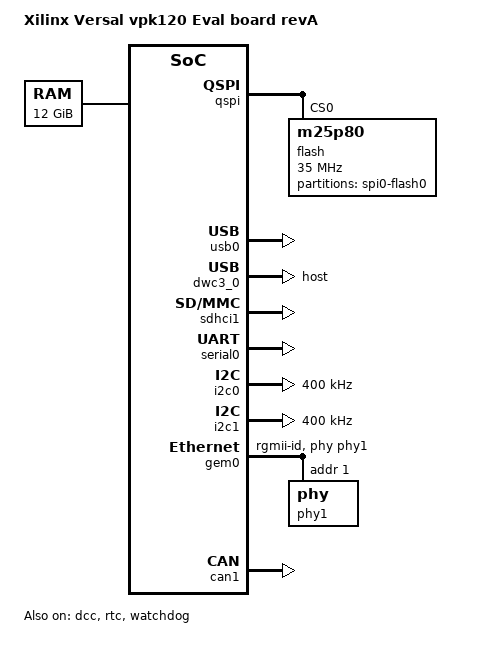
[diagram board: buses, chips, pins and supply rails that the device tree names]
// SPDX-License-Identifier: GPL-2.0
/*
 * dts file for Xilinx Versal vpk120 revA
 *
 * (C) Copyright 2021, Xilinx, Inc.
 *
 * Michal Simek <michal.simek@xilinx.com>
 */

#include "versal.dtsi"
#include "versal-clk.dtsi"

/ {
	model = "Xilinx Versal vpk120 Eval board revA";
	compatible = "xlnx,versal-vpk120-revA", "xlnx,versal-vpk120",
		     "xlnx,versal";

	memory: memory@0 {
		device_type = "memory";
		reg = <0 0 0 0x80000000>, <0x8 0x0 0x2 0x80000000>;
	};

	chosen {
		bootargs = "console=ttyAMA0 earlycon=pl011,mmio32,0xFF000000,115200n8 clk_ignore_unused";
		stdout-path = "serial0:115200";
	};

	aliases {
		serial0 = &serial0;
		ethernet0 = &gem0;
		i2c0 = &i2c0;
		i2c1 = &i2c1;
		mmc0 = &sdhci1;
		spi0 = &qspi;
		usb0 = &usb0;
		rtc0 = &rtc;
	};
	/* Missing any LED for heartbeat */
};

&qspi { /* PMC_MIO_500 0 - 12 */
	status = "okay"; /* u93 and u92 */
	num-cs = <1>;
	is-dual = <1>;
	spi-rx-bus-width = <4>;
	spi-tx-bus-width = <4>;

	flash@0 {
		compatible = "m25p80", "jedec,spi-nor";
		#address-cells = <1>;
		#size-cells = <1>;
		reg = <0>;
		spi-tx-bus-width = <4>;
		spi-rx-bus-width = <4>;
		spi-max-frequency = <35000000>;
		partition@0 {
			label = "spi0-flash0";
			reg = <0x0 0x8000000>;
		};
	};
};

&usb0 { /* PMC_MIO_500 13 - 25 USB 2.0 */
	status = "okay";
	xlnx,usb-polarity = <0>;
	xlnx,usb-reset-mode = <0>;
};

&dwc3_0 { /* USB 2.0 host */
	status = "okay";
	dr_mode = "host";
	maximum-speed = "high-speed"; /* FIXME */
	snps,dis_u2_susphy_quirk;
	snps,dis_u3_susphy_quirk;
	snps,usb3_lpm_capable;
};

&sdhci1 { /* PMC_MIO_501 26 - 36/51 */
	status = "okay";
	xlnx,mio-bank = <1>;
	no-1-8-v;
};

/* PWM via MIO 41/FAN TACH MIO 49 - FIXME */

&serial0 { /* PMC_MIO42/43 */
	status = "okay";
};

&i2c0 { /* PMC_MIO46/47 */
	status = "okay";
	clock-frequency = <400000>;
};

&i2c1 { /* PMC_MIO44/45 */
	status = "okay";
	clock-frequency = <400000>;
};

/* PCIe at MIO 38/39/40/50 */

&gem0 { /* PMC_MIO_48 - reset, LPD_MIO0-11 , mdio LPD_MIO24/25 */
	status = "okay";
	phy-handle = <&phy1>; /* u198 */
	phy-mode = "rgmii-id";
	phy1: phy@1 {
		reg = <1>;
		ti,rx-internal-delay = <0xb>;
		ti,tx-internal-delay = <0xa>;
		ti,fifo-depth = <1>;
		ti,dp83867-rxctrl-strap-quirk;
	};
};

/* LPD_MIO12-23 - PM */

&can1 { /* MIO40-41 */
	status = "okay";
};

&dcc {
	status = "okay";
};

&rtc {
	status = "okay";
};

&gpio0 {
	status = "okay";
	/* FIXME Fill names when versal starts */
};

&gpio1 {
	status = "okay";
	/* FIXME Fill names when versal starts */
};

&watchdog {
	status = "okay";
};
